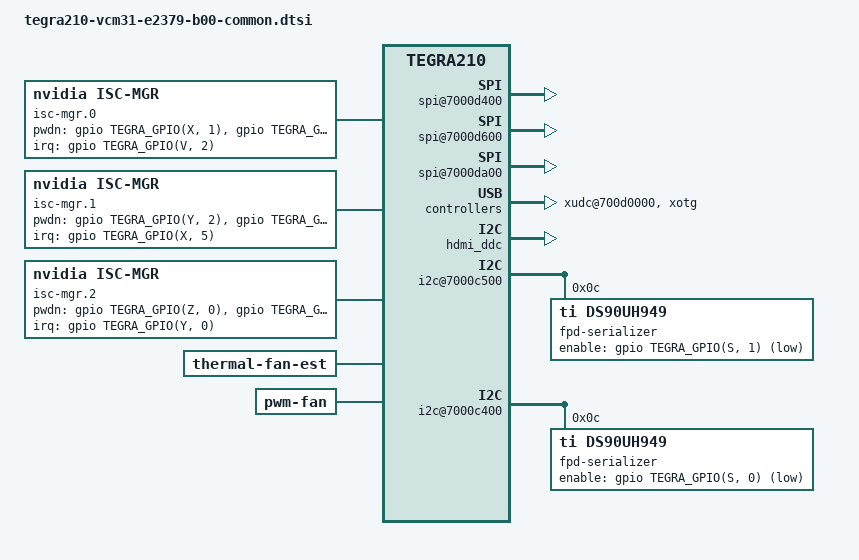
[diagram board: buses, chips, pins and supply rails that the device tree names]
/*
 * arch/arm64/boot/dts/tegra210-vcm31-e2379-b00-common.dtsi
 *
 * Copyright (c) 2015-2016, NVIDIA CORPORATION.  All rights reserved.
 *
 * This program is free software; you can redistribute it and/or modify
 * it under the terms of the GNU General Public License as published by
 * the Free Software Foundation; version 2 of the License.
 *
 * This program is distributed in the hope that it will be useful, but WITHOUT
 * ANY WARRANTY; without even the implied warranty of MERCHANTABILITY or
 * FITNESS FOR A PARTICULAR PURPOSE.  See the GNU General Public License for
 * more details.
 *
 * You should have received a copy of the GNU General Public License along
 * with this program; if not, write to the Free Software Foundation, Inc.,
 * 51 Franklin Street, Fifth Floor, Boston, MA  02110-1301, USA.
 *
 */

/dts-v1/;

/memreserve/ 0x80000000 0x00020000;

#include "tegra210-platforms/tegra210-vcm31.dtsi"

#include <dt-bindings/display/tegra-panel.h>

/ {
	/* Place holder for Boardinfo,this will be updated by QB
	* by reading the values from BCT partition
	*/
	nvidia,boardinfo {
		macids {
			mac0-interface = "0000";
			mac0-address = <00 00 00 00 00 00>;
			mac0-address-string = "00 00 00 00 00 00";
		};
		skuinfo {
			skustring = "000-00000-0000-000";
			skuver = "00";
		};
		prodinfo {
			prodstring = "000-00000-0000-000";
			prodver = "0";
		};
		serialnuminfo {
			serialnumstring = "0000000";
			version = "0";
		};
	};

	spi@7000d400 { /* TegraX master */
		status = "okay";
	};

	spi@7000d600 { /* Aurix */
		compatible = "nvidia,tegra210-spi-slave";
		nvidia,clk-pin = "spi2_sck_pb6";
		status = "okay";
	};

	spi@7000da00 { /* TegraX slave */
		compatible = "nvidia,tegra210-spi-slave";
		nvidia,clk-pin = "spi4_sck_pc5";
		status = "okay";
	};

	host1x {
		sor {
			panel-a-edp-1080p-14-0 {
				nvidia,hdmi-fpd-bridge = <TEGRA_HDMI_ENABLE>;
			};
		};
		sor1 {
			hdmi-display {
				nvidia,hdmi-fpd-bridge = <TEGRA_HDMI_ENABLE>;
			};
		};
	};

	extcon {
		vbus_gpio_extcon: extcon@1 {
			/* Always set USB=1 USB-Host=0 regardless gpio value*/
			extcon-gpio,cable-states = <0x3 0x1
						    0x0 0x1
						    0x1 0x1
						    0x2 0x1>;
			/* Dummy unused gpios */
			gpios = <&gpio TEGRA_GPIO(M, 0) 0 &gpio TEGRA_GPIO(M, 1) 0>;
		};
	};

	xudc@700d0000 {
		extcon-cables = <&vbus_gpio_extcon 0>;
		extcon-cable-names = "vbus";
		status = "okay";
	};

	xotg {
		status = "okay";
	};

	hdmi_ddc: i2c@7000c700 {
		status = "okay";
	};

	adsp_audio {
		status = "disabled";
	};

	adma@702e2000  {
		status = "disabled";
	};

	ahub {
		status = "disabled";
	};

	sound {
		status = "disabled";
	};

	sound_ref {
		status = "disabled";
	};

	isc-mgr.0 {
		compatible = "nvidia,isc-mgr";
		i2c-bus = <2>;
		csi-port = <0>;
		pwdn-gpios = < &gpio TEGRA_GPIO(X, 1) GPIO_ACTIVE_HIGH  /* GMSLA_PWRDN */
			&gpio TEGRA_GPIO(H, 2) GPIO_ACTIVE_HIGH         /* TA_TV1_TV2_ENA */
			&gpio TEGRA_GPIO(H, 5) GPIO_ACTIVE_HIGH>;       /* TA_TV3_TV4_ENA */
		pwr-items =  <0 1 1 2 2>; /* map pwr-items to pwdn-gpios */
		interrupt-parent = <&gpio>;
		interrupts = <TEGRA_GPIO(V, 2) 2>; /* GMSLA_STATUS_OC : falling edge sensitive */
		status = "okay";
	};

	isc-mgr.1 {
		compatible = "nvidia,isc-mgr";
		i2c-bus = <0>;
		csi-port = <2>;
		pwdn-gpios = < &gpio TEGRA_GPIO(Y, 2) GPIO_ACTIVE_HIGH  /* GMSLA_PWRDN */
			&gpio TEGRA_GPIO(H, 6) GPIO_ACTIVE_HIGH         /* TA_TV5_TV6_ENA */
			&gpio TEGRA_GPIO(H, 7) GPIO_ACTIVE_HIGH>;       /* TA_TV7_TV8_ENA */
		pwr-items =  <0 1 1 2 2>; /* map pwr-items to pwdn-gpios */
		interrupt-parent = <&gpio>;
		interrupts = <TEGRA_GPIO(X, 5) 2>; /* GMSLB_STATUS_OC : falling edge sensitive */
		status = "okay";
	};

	isc-mgr.2 {
		compatible = "nvidia,isc-mgr";
		i2c-bus = <1>;
		csi-port = <4>;
		pwdn-gpios = < &gpio TEGRA_GPIO(Z, 0) GPIO_ACTIVE_HIGH  /* GMSLA_PWRDN */
			&gpio TEGRA_GPIO(H, 1) GPIO_ACTIVE_HIGH         /* TA_TV9_TV10_ENA */
			&gpio TEGRA_GPIO(S, 4) GPIO_ACTIVE_HIGH>;       /* TA_TV11_TV12_ENA */
		pwr-items =  <0 1 1 2 2>; /* map pwr-items to pwdn-gpios */
		interrupt-parent = <&gpio>;
		interrupts = <TEGRA_GPIO(Y, 0) 2>; /* GMSLB_STATUS_OC : falling edge sensitive */
		status = "okay";
	};
	i2c@7000c500 {
		fpd-serializer@0c {
			out-type = <TEGRA_DC_OUT_HDMI>;
			compatible = "ti,ds90uh949";
			reg = <0x0c>;
			ti,enable-gpio = <&gpio TEGRA_GPIO(S, 1) 1>;
			ti,power-on-delay = <3>;
			ti,power-off-delay = <3>;
		};
	};
	i2c@7000c400 {
		fpd-serializer@0c {
			out-type = <TEGRA_DC_OUT_DP>;
			compatible = "ti,ds90uh949";
			reg = <0x0c>;
			ti,enable-gpio = <&gpio TEGRA_GPIO(S, 0) 1>;
			ti,power-on-delay = <300>;
			ti,power-off-delay = <3>;
		};
	};
	thermal_fan_est_shared_data: tfesd {
		secret = <37>;
		toffset = <0>;
		polling_period = <1100>; /* Update temp every 1.1sec */
		ndevs = <1>;
		cdev_type = "pwm-fan";
		tzp_governor_name = "pid_thermal_gov";

		dev1 {
			dev_data = "Tdiode_tegra";
			/* Apply Tdiode value 100% in real time */
			coeffs = <100 0 0 0 0 0 0 0 0 0 0 0 0 0 0 0 0 0 0 0>;
		};
	};

	thermal-fan-est {
		compatible = "thermal-fan-est";
		name = "thermal-fan-est";
		num_resources = <0>;
		shared_data = <&thermal_fan_est_shared_data>;
		trip_length = <10>;
		/*
		 * This table corresponds to active_pwm table.
		 * Set active_pwm[1] when temp is over 75C,
		 * back to active_pwm[0] when temp cooldown to 55C.
		 */
		active_trip_temps = <0 75000 77000 80000 85000
				140000 150000 160000 170000 180000>;
		active_hysteresis = <0 20000 0 0 0
				0 0 0 0 0>;
	};

	pwm@7000a000 {
		/* We can use this algorithm only when we use 1 pwm */
		pwm,use-pretty-good-alogorithm = <1>;
	};

	pwm_fan_shared_data: pfsd {
		num_resources = <0>;
		secret = <47>;
		active_steps = <10>;
		active_rpm = <1386 2310 2310 2310 2310 2310 2310 2310 2310 2310>;
		active_rru = <40 2 1 1 1 1 1 1 1 1>;
		active_rrd = <40 2 1 1 1 1 1 1 1 1>;
		state_cap_lookup = <2 2 2 2 3 3 3 4 4 4>;
		/* WAR: 12V fan spec is 37KHz, but use 15KHz */
		/* PWM freq = 1/ pwm_period = 15KHz*/
		pwm_period = <66500>; /* nanoseconds */
		pwm_id = <0>;
		step_time = <100>; /* milliseconds */
		state_cap = <2>; /* Cap pwm max to 256 = active_pwm[2] */
		active_pwm_max = <256>;
		/* Not use Tachometer pin */
		/* tach_gpio =  <TEGRA_GPIO(X, 7)>; */
		pwm_gpio = <TEGRA_GPIO(V, 0)>; /* TEGRA_GPIO_PV0 */
	};

	pwm-fan {
		compatible = "pwm-fan";
		shared_data = <&pwm_fan_shared_data>;
		/* WAR: 12V fan PWM wave is not square.
		 * Use duty 86% to set 60% speed of max */
		/* Duty = <86 100 ... */
		active_pwm = <220 256 256 256 256 256 256 256 256 256>;
	};
};
